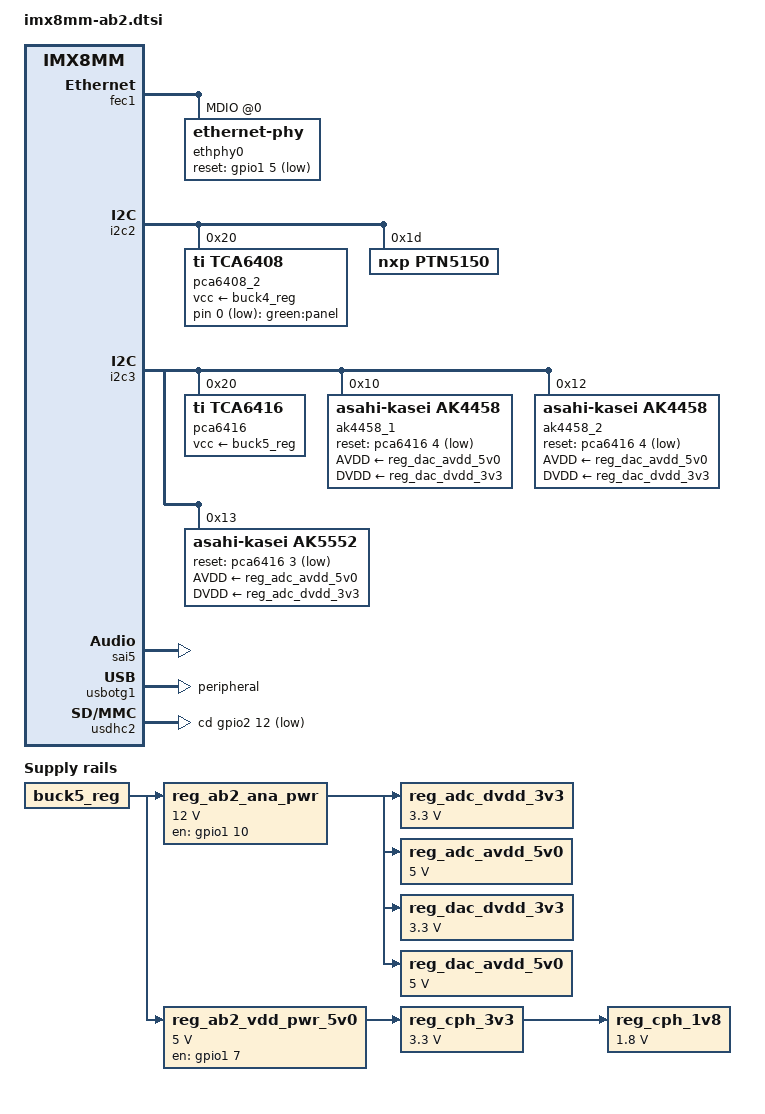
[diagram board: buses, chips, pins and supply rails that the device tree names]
// SPDX-License-Identifier: (GPL-2.0+ OR MIT)
/*
 * Copyright 2021 NXP
 */

/ {
	/delete-node/ ir-receiver;
	/delete-node/ audio-codec;
	/delete-node/ regulator-audio-board;
	/delete-node/ regulator-pcie;
	/delete-node/ sound-wm8524;
	/delete-node/ sound-ak5558;
	/delete-node/ sound-ak4497;
	/delete-node/ sound-micfil;

	leds {
		panel {
			label = "green:panel";
			gpios = <&pca6408_2 0 GPIO_ACTIVE_LOW>;
			default-state = "on";
		};
	};

	reg_ab2_ana_pwr: regulator-ab2-ana-pwr {
		compatible = "regulator-fixed";
		regulator-name = "ANA_12V0";
		pinctrl-names = "default";
		pinctrl-0 = <&pinctrl_ab2_ana_pwr>;
		regulator-min-microvolt = <12000000>;
		regulator-max-microvolt = <12000000>;
		gpio = <&gpio1 10 GPIO_ACTIVE_HIGH>;
		vin-supply = <&buck5_reg>;
		enable-active-high;
		regulator-always-on;
		regulator-boot-on;
	};

	reg_ab2_vdd_pwr_5v0: regulator-ab2-vdd-pwr-5v0 {
		compatible = "regulator-fixed";
		regulator-name = "VDD_5V0";
		pinctrl-names = "default";
		pinctrl-0 = <&pinctrl_ab2_vdd_pwr_5v0>;
		regulator-min-microvolt = <5000000>;
		regulator-max-microvolt = <5000000>;
		gpio = <&gpio1 7 GPIO_ACTIVE_HIGH>;
		vin-supply = <&buck5_reg>;
		enable-active-high;
		regulator-always-on;
		regulator-boot-on;
	};

	reg_adc_dvdd_3v3: reg-adc-dvdd-3v3 {
		compatible = "regulator-fixed";
		regulator-name = "ADC_DVDD_3V3";
		regulator-min-microvolt = <3300000>;
		regulator-max-microvolt = <3300000>;
		vin-supply = <&reg_ab2_ana_pwr>;
	};

	reg_adc_avdd_5v0: reg-adc-avdd-5v0 {
		compatible = "regulator-fixed";
		regulator-name = "ADC_AVDD_5V0";
		regulator-min-microvolt = <5000000>;
		regulator-max-microvolt = <5000000>;
		vin-supply = <&reg_ab2_ana_pwr>;
	};

	reg_dac_dvdd_3v3: reg-dac-dvdd-3v3 {
		compatible = "regulator-fixed";
		regulator-name = "DAC_DVDD_3V3";
		regulator-min-microvolt = <3300000>;
		regulator-max-microvolt = <3300000>;
		vin-supply = <&reg_ab2_ana_pwr>;
	};

	reg_dac_avdd_5v0: reg-dac-avdd-5v0 {
		compatible = "regulator-fixed";
		regulator-name = "DAC_AVDD_5V0";
		regulator-min-microvolt = <5000000>;
		regulator-max-microvolt = <5000000>;
		vin-supply = <&reg_ab2_ana_pwr>;
	};

	reg_cph_3v3: reg-cph-3v3 {
		compatible = "regulator-fixed";
		regulator-name = "CPH_3V3";
		regulator-min-microvolt = <3300000>;
		regulator-max-microvolt = <3300000>;
		vin-supply = <&reg_ab2_vdd_pwr_5v0>;
	};

	reg_cph_1v8: reg-cph-1v8 {
		compatible = "regulator-fixed";
		regulator-name = "CPH_1V8";
		regulator-min-microvolt = <1800000>;
		regulator-max-microvolt = <1800000>;
		vin-supply = <&reg_cph_3v3>;
	};

	reg_pcie0: regulator-pcie {
		status = "disabled";
	};

	sound-ak4458 {
		compatible = "fsl,imx-audio-card";
		model = "ak4458-audio";
		pri-dai-link {
			link-name = "akcodec";
			format = "i2s";
			fsl,mclk-equal-bclk;
			cpu {
				sound-dai = <&sai1>;
			};
			codec {
				sound-codec = <&ak4458_1>, <&ak4458_2>;
			};
		};
	};

	sound-ak5552 {
		compatible = "fsl,imx-audio-card";
		model = "ak5552-audio";
		pri-dai-link {
			link-name = "akcodec";
			format = "i2s";
			fsl,mclk-equal-bclk;
			cpu {
				sound-dai = <&sai5>;
			};
			codec {
				sound-dai = <&ak5552>;
			};
		};
	};
};

&csi {
	status = "disabled";
	/delete-node/ port;
};

&fec1 {
	mdio {
		ethphy0: ethernet-phy@0 {
			reset-gpios = <&gpio1 5 GPIO_ACTIVE_LOW>;
			reset-deassert-us = <150000>;
			reset-assert-us = <15000>;
			max-speed = <100>;
		};
	};
};

&i2c2 {
	/delete-node/ adv7535@3d;
	/delete-node/ tcpc@50;

	pca6408_2: gpio@20 {
		compatible = "ti,tca6408";
		reg = <0x20>;
		gpio-controller;
		#gpio-cells = <2>;
		vcc-supply = <&buck4_reg>;
	};

	ptn5150: tcpc@1d {
		compatible = "nxp,ptn5150";
		reg = <0x1d>;
		status = "okay";

		typec_con: connector {
			compatible = "usb-c-connector";
			label = "USB-C";
			power-role = "dual";
			data-role = "dual";
			try-power-role = "sink";
			source-pdos = <PDO_FIXED(5000, 3000, PDO_FIXED_USB_COMM)>;
			sink-pdos = <PDO_FIXED(5000, 3000, PDO_FIXED_USB_COMM)
				PDO_VAR(5000, 20000, 3000)>;
			op-sink-microwatt = <15000000>;
			self-powered;
		};
	};
};

&i2c3 {
	/delete-node/ ak5558@13;
	/delete-node/ ak4497@11;
	/delete-node/ camera@3c;

	pca6416: gpio@20 {
		compatible = "ti,tca6416";
		reg = <0x20>;
		gpio-controller;
		#gpio-cells = <2>;
		vcc-supply = <&buck5_reg>;
	};

	ak4458_1: ak4458@10 {
		#sound-dai-cells = <0>;
		sound-name-prefix = "0";
		compatible = "asahi-kasei,ak4458";
		reg = <0x10>;
		reset-gpios = <&pca6416 4 GPIO_ACTIVE_LOW>;
		AVDD-supply = <&reg_dac_avdd_5v0>;
		DVDD-supply = <&reg_dac_dvdd_3v3>;
		status = "okay";
	};

	ak4458_2: ak4458@12 {
		#sound-dai-cells = <0>;
		sound-name-prefix = "1";
		compatible = "asahi-kasei,ak4458";
		reg = <0x12>;
		reset-gpios = <&pca6416 4 GPIO_ACTIVE_LOW>;
		AVDD-supply = <&reg_dac_avdd_5v0>;
		DVDD-supply = <&reg_dac_dvdd_3v3>;
		status = "okay";
	};

	ak4458_3: ak4458@11 {
		#sound-dai-cells = <0>;
		sound-name-prefix = "2";
		compatible = "asahi-kasei,ak4458";
		reg = <0x11>;
		reset-gpios = <&pca6416 4 GPIO_ACTIVE_LOW>;
		AVDD-supply = <&reg_dac_avdd_5v0>;
		DVDD-supply = <&reg_dac_dvdd_3v3>;
		status = "disabled";
	};

	ak5552: ak5552@13 {
		#sound-dai-cells = <0>;
		compatible = "asahi-kasei,ak5552";
		reg = <0x13>;
		reset-gpios = <&pca6416 3 GPIO_ACTIVE_LOW>;
		AVDD-supply = <&reg_adc_avdd_5v0>;
		DVDD-supply = <&reg_adc_dvdd_3v3>;
		status = "okay";
	};
};

&i2c4 {
	clock-frequency = <400000>;
	pinctrl-names = "default";
	pinctrl-0 = <&pinctrl_i2c4>;
	status = "disabled";
};

&iomuxc {
	/delete-node/ csi_pwn_grp;
	/delete-node/ csi_rst_grp;
	/delete-node/ pcie0reggrp;

	pinctrl_fec1: fec1grp {
		fsl,pins = <
			MX8MM_IOMUXC_ENET_MDC_ENET1_MDC			0x3
			MX8MM_IOMUXC_ENET_MDIO_ENET1_MDIO		0x3
			MX8MM_IOMUXC_ENET_TD3_ENET1_RGMII_TD3		0x1f
			MX8MM_IOMUXC_ENET_TD2_ENET1_RGMII_TD2		0x1f
			MX8MM_IOMUXC_ENET_TD1_ENET1_RGMII_TD1		0x1f
			MX8MM_IOMUXC_ENET_TD0_ENET1_RGMII_TD0		0x1f
			MX8MM_IOMUXC_ENET_RD3_ENET1_RGMII_RD3		0x91
			MX8MM_IOMUXC_ENET_RD2_ENET1_RGMII_RD2		0x91
			MX8MM_IOMUXC_ENET_RD1_ENET1_RGMII_RD1		0x91
			MX8MM_IOMUXC_ENET_RD0_ENET1_RGMII_RD0		0x91
			MX8MM_IOMUXC_ENET_TXC_ENET1_RGMII_TXC		0x1f
			MX8MM_IOMUXC_ENET_RXC_ENET1_RGMII_RXC		0x91
			MX8MM_IOMUXC_ENET_RX_CTL_ENET1_RGMII_RX_CTL	0x91
			MX8MM_IOMUXC_ENET_TX_CTL_ENET1_RGMII_TX_CTL	0x1f
			MX8MM_IOMUXC_GPIO1_IO05_GPIO1_IO5		0x19	/* ENET_PHY_RST_B */
			MX8MM_IOMUXC_GPIO1_IO11_GPIO1_IO11		0x19	/* ENET_PHY_INT_B */
		>;
	};

	pinctrl_i2c4: i2c4grp {
		fsl,pins = <
			MX8MM_IOMUXC_I2C4_SCL_I2C4_SCL			0x400001c3
			MX8MM_IOMUXC_I2C4_SDA_I2C4_SDA			0x400001c3
		>;
	};

	pinctrl_ab2_ana_pwr: ab2anapwrgrp {
		fsl,pins = <
			MX8MM_IOMUXC_GPIO1_IO10_GPIO1_IO10	0x41
		>;
	};

	pinctrl_ab2_vdd_pwr_5v0: ab2vddpwr5v0grp {
		fsl,pins = <
			MX8MM_IOMUXC_GPIO1_IO07_GPIO1_IO7	0x41
		>;
	};

	pinctrl_sai1: sai1grp {
		fsl,pins = <
			MX8MM_IOMUXC_SAI1_MCLK_SAI1_MCLK	0xd6
			MX8MM_IOMUXC_SAI1_TXFS_SAI1_TX_SYNC	0xd6
			MX8MM_IOMUXC_SAI1_RXD7_SAI1_TX_SYNC	0xd6
			MX8MM_IOMUXC_SAI1_TXC_SAI1_TX_BCLK	0xd6
			MX8MM_IOMUXC_SAI1_TXD0_SAI1_TX_DATA0	0xd6
			MX8MM_IOMUXC_SAI1_TXD1_SAI1_TX_DATA1	0xd6
			MX8MM_IOMUXC_SAI1_TXD2_SAI1_TX_DATA2	0xd6
			MX8MM_IOMUXC_SAI1_TXD3_SAI1_TX_DATA3	0xd6
			MX8MM_IOMUXC_SAI1_TXD4_SAI1_TX_DATA4	0xd6
			MX8MM_IOMUXC_SAI1_TXD5_SAI1_TX_DATA5	0xd6
			MX8MM_IOMUXC_SAI1_TXD6_SAI1_TX_DATA6	0xd6
			MX8MM_IOMUXC_SAI1_TXD7_SAI1_TX_DATA7	0xd6
			MX8MM_IOMUXC_SAI1_RXD0_SAI1_RX_DATA0	0xd6
			MX8MM_IOMUXC_SAI1_RXD1_SAI1_RX_DATA1	0xd6
			MX8MM_IOMUXC_SAI1_RXD2_SAI1_RX_DATA2	0xd6
			MX8MM_IOMUXC_SAI1_RXD3_SAI1_RX_DATA3	0xd6
			MX8MM_IOMUXC_SAI1_RXD5_SAI1_RX_SYNC	0xd6
			MX8MM_IOMUXC_SAI1_RXC_SAI1_RX_BCLK	0xd6
		>;
	};

	pinctrl_sai1_dsd: sai1grp_dsd {
		fsl,pins = <
			MX8MM_IOMUXC_SAI1_MCLK_SAI1_MCLK	0xd6
			MX8MM_IOMUXC_SAI1_TXFS_SAI1_TX_SYNC	0xd6
			MX8MM_IOMUXC_SAI1_TXC_SAI1_TX_BCLK	0xd6
			MX8MM_IOMUXC_SAI1_TXD0_SAI1_TX_DATA0	0xd6
			MX8MM_IOMUXC_SAI1_TXD1_SAI1_TX_DATA1	0xd6
			MX8MM_IOMUXC_SAI1_TXD2_SAI1_TX_DATA2	0xd6
			MX8MM_IOMUXC_SAI1_TXD3_SAI1_TX_DATA3	0xd6
			MX8MM_IOMUXC_SAI1_TXD4_SAI1_TX_DATA4	0xd6
			MX8MM_IOMUXC_SAI1_TXD5_SAI1_TX_DATA5	0xd6
			MX8MM_IOMUXC_SAI1_TXD6_SAI1_TX_DATA6	0xd6
			MX8MM_IOMUXC_SAI1_TXD7_SAI1_TX_DATA7	0xd6
			MX8MM_IOMUXC_SAI1_RXD0_SAI1_RX_DATA0	0xd6
			MX8MM_IOMUXC_SAI1_RXD1_SAI1_RX_DATA1	0xd6
			MX8MM_IOMUXC_SAI1_RXD2_SAI1_RX_DATA2	0xd6
			MX8MM_IOMUXC_SAI1_RXD3_SAI1_RX_DATA3	0xd6
			MX8MM_IOMUXC_SAI1_RXD5_SAI1_RX_SYNC	0xd6
			MX8MM_IOMUXC_SAI1_RXC_SAI1_RX_BCLK	0xd6
		>;
	};

	pinctrl_sai3: sai3grp {
		fsl,pins = <
			MX8MM_IOMUXC_SAI3_MCLK_SAI3_MCLK	0xd6
			MX8MM_IOMUXC_SAI3_RXC_SAI3_RX_BCLK	0xd6
			MX8MM_IOMUXC_SAI3_RXFS_SAI3_RX_SYNC	0xd6
			MX8MM_IOMUXC_SAI3_RXD_SAI3_RX_DATA0	0xd6
		>;
	};

	pinctrl_sai5: sai5grp {
		fsl,pins = <
			MX8MM_IOMUXC_SAI5_MCLK_SAI5_MCLK	0xd6
			MX8MM_IOMUXC_SAI5_RXC_SAI5_RX_BCLK	0xd6
			MX8MM_IOMUXC_SAI5_RXFS_SAI5_RX_SYNC	0xd6
			MX8MM_IOMUXC_SAI5_RXD0_SAI5_RX_DATA0	0xd6
			MX8MM_IOMUXC_SAI5_RXD2_SAI5_TX_BCLK	0xd6
			MX8MM_IOMUXC_SAI5_RXD1_SAI5_TX_SYNC	0xd6
			MX8MM_IOMUXC_SAI5_RXD3_SAI5_TX_DATA0	0xd6
		>;
	};

	pinctrl_usdhc2_gpio: usdhc2grpgpiogrp {
		fsl,pins = <
			MX8MM_IOMUXC_SD2_CD_B_GPIO2_IO12	0x1c4
		>;
	};
};

&micfil {
	status = "disabled";
};

&mipi_csi {
	status = "disabled";
	/delete-node/ ports;
};

&mipi_dsi {
	status = "disabled";
	/delete-node/ port@1;
};

&pcie_phy {
	status = "disabled";
};

&pcie0 {
	status = "disabled";
	/delete-property/ pinctrl-0;
};

&pcie0_ep {
	status = "disabled";
	/delete-property/ pinctrl-0;
};

&sai1 {
	fsl,dataline = <0 0xff 0xff>;
};

&sai3 {
	status = "disabled";
};

&sai5 {
	status = "okay";
};

&usbotg1 {
	dr_mode = "peripheral";
	/delete-property/ usb-role-switch;
	/delete-node/ port;
};

&usdhc2 {
	cd-gpios = <&gpio2 12 GPIO_ACTIVE_LOW>;
};
